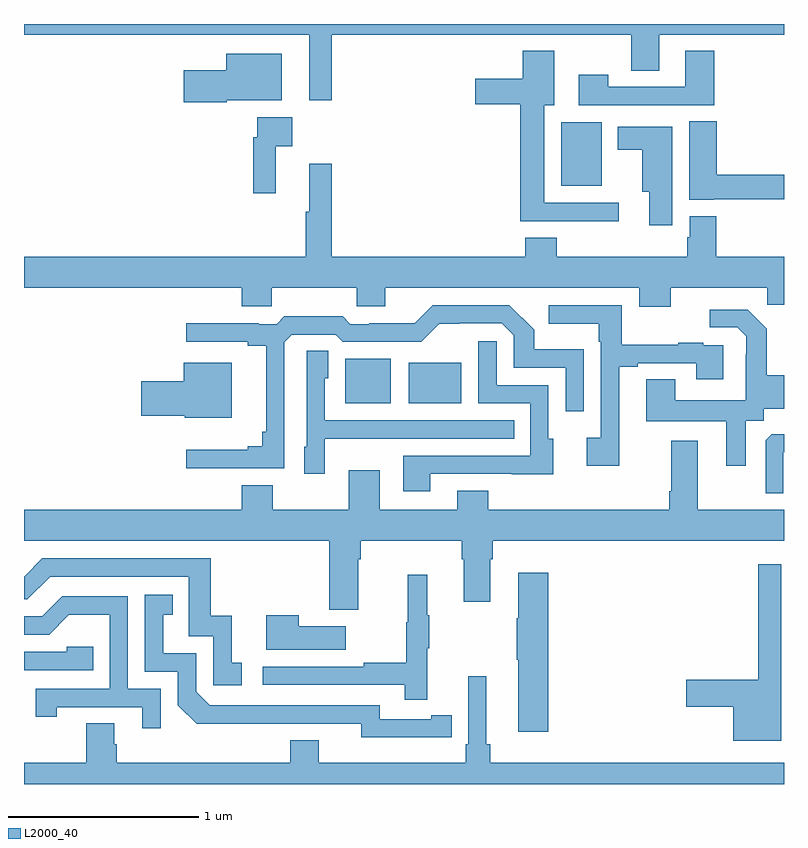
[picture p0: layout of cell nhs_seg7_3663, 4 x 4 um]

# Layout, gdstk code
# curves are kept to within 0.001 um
import gdstk
lib = gdstk.Library(unit=1e-6, precision=1e-09)
def R(c, l, rs):  # rectangles x0, y0, x1, y1
    for r in rs: c.add(gdstk.rectangle(r[:2], r[2:], *l))
def P(c, l, *ps):  # polygons
    for p in ps: c.add(gdstk.Polygon(p, *l))
L2000_40 = (2000, 40)

nhs_seg7_3663 = lib.new_cell('nhs_seg7_3663')
R(nhs_seg7_3663, L2000_40, [(346.691,1004.003,346.93,1004.239), (347.024,1004.003,347.302,1004.218), (347.828,1005.149,348.04,1005.484)])
P(nhs_seg7_3663, L2000_40, [(345,1005.944),(346.502,1005.944),(346.502,1005.6),(346.619,1005.6),(346.619,1005.944),(348.196,1005.944),(348.196,1005.754),(348.343,1005.754),(348.343,1005.944),(349,1005.944),(349,1006),(345,1006)],
  [(348.13,1005.06),(347.737,1005.06),(347.737,1005.572),(347.791,1005.572),(347.791,1005.859),(347.624,1005.859),(347.624,1005.712),(347.376,1005.712),(347.376,1005.578),(347.612,1005.578),(347.612,1004.963),(348.13,1004.963)],
  [(348.632,1005.859),(348.479,1005.859),(348.479,1005.669),(348.075,1005.669),(348.075,1005.733),(347.919,1005.733),(347.919,1005.573),(348.632,1005.573)],
  [(346.068,1005.599),(346.357,1005.599),(346.357,1005.844),(346.064,1005.844),(346.064,1005.757),(345.84,1005.757),(345.84,1005.587),(346.068,1005.587)],
  [(346.325,1005.356),(346.411,1005.356),(346.411,1005.508),(346.227,1005.508),(346.227,1005.404),(346.207,1005.404),(346.207,1005.108),(346.325,1005.108)],
  [(348.63,1005.078),(349,1005.078),(349,1005.206),(348.647,1005.206),(348.647,1005.488),(348.5,1005.488),(348.5,1005.074),(348.63,1005.074)],
  [(348.412,1005.46),(348.125,1005.46),(348.125,1005.338),(348.254,1005.338),(348.254,1005.116),(348.29,1005.116),(348.29,1004.94),(348.412,1004.94)],
  [(348.403,1004.612),(348.913,1004.612),(348.913,1004.522),(349,1004.522),(349,1004.776),(348.644,1004.776),(348.644,1004.989),(348.503,1004.989),(348.503,1004.877),(348.491,1004.877),(348.491,1004.776),(347.804,1004.776),(347.804,1004.875),(347.639,1004.875),(347.639,1004.776),(346.619,1004.776),(346.619,1005.265),(346.502,1005.265),(346.502,1005.012),(346.483,1005.012),(346.483,1004.776),(345,1004.776),(345,1004.612),(346.145,1004.612),(346.145,1004.514),(346.305,1004.514),(346.305,1004.612),(346.75,1004.612),(346.75,1004.514),(346.9,1004.514),(346.9,1004.612),(348.239,1004.612),(348.239,1004.513),(348.403,1004.513)],
  [(348.133,1004.196),(348.229,1004.196),(348.229,1004.214),(348.539,1004.214),(348.539,1004.13),(348.679,1004.13),(348.679,1004.31),(348.575,1004.31),(348.575,1004.323),(348.443,1004.323),(348.443,1004.312),(348.145,1004.312),(348.145,1004.52),(347.763,1004.52),(347.763,1004.423),(348.024,1004.423),(348.024,1004.327),(348.036,1004.327),(348.036,1003.822),(347.961,1003.822),(347.961,1003.674),(348.133,1003.674)],
  [(346.371,1004.325),(346.41,1004.364),(346.641,1004.364),(346.677,1004.328),(347.091,1004.328),(347.186,1004.423),(347.514,1004.424),(347.577,1004.361),(347.577,1004.19),(347.85,1004.19),(347.85,1003.962),(347.946,1003.962),(347.946,1004.287),(347.685,1004.287),(347.685,1004.39),(347.554,1004.52),(347.151,1004.52),(347.057,1004.426),(346.816,1004.426),(346.816,1004.421),(346.716,1004.421),(346.677,1004.461),(346.369,1004.461),(346.329,1004.421),(346.235,1004.421),(346.235,1004.426),(345.855,1004.426),(345.855,1004.328),(346.178,1004.328),(346.178,1004.306),(346.274,1004.306),(346.274,1003.855),(346.255,1003.855),(346.255,1003.778),(346.178,1003.778),(346.178,1003.759),(345.855,1003.759),(345.855,1003.662),(346.371,1003.662)],
  [(348.799,1003.912),(348.894,1003.912),(348.894,1003.976),(349,1003.976),(349,1004.152),(348.909,1004.152),(348.909,1004.397),(348.809,1004.497),(348.609,1004.497),(348.609,1004.403),(348.753,1004.403),(348.8,1004.356),(348.8,1004.261),(348.798,1004.261),(348.798,1004.02),(348.427,1004.02),(348.427,1004.129),(348.275,1004.129),(348.275,1003.91),(348.695,1003.91),(348.695,1003.674),(348.799,1003.674)],
  [(347.137,1003.632),(347.567,1003.632),(347.567,1003.631),(347.785,1003.631),(347.785,1003.818),(347.76,1003.818),(347.76,1004.1),(347.487,1004.1),(347.487,1004.329),(347.391,1004.329),(347.391,1004.004),(347.664,1004.004),(347.664,1003.728),(346.997,1003.728),(346.997,1003.542),(347.137,1003.542)],
  [(346.584,1003.817),(346.901,1003.817),(346.901,1003.818),(347.579,1003.818),(347.579,1003.914),(346.584,1003.914),(346.584,1004.136),(346.6,1004.136),(346.6,1004.279),(346.488,1004.279),(346.488,1003.776),(346.475,1003.776),(346.475,1003.632),(346.584,1003.632)],
  [(346.093,1004.218),(345.842,1004.218),(345.842,1004.12),(345.618,1004.12),(345.618,1003.937),(345.846,1003.937),(345.846,1003.928),(346.093,1003.928)],
  [(348.996,1003.746),(349,1003.746),(349,1003.841),(348.935,1003.841),(348.903,1003.809),(348.903,1003.529),(348.996,1003.529)],
  [(349,1003.444),(348.547,1003.444),(348.547,1003.807),(348.407,1003.807),(348.407,1003.54),(348.395,1003.54),(348.395,1003.444),(347.443,1003.444),(347.443,1003.543),(347.279,1003.543),(347.279,1003.444),(346.873,1003.444),(346.873,1003.651),(346.709,1003.651),(346.709,1003.444),(346.309,1003.444),(346.309,1003.573),(346.145,1003.573),(346.145,1003.444),(345,1003.444),(345,1003.28),(346.607,1003.28),(346.607,1002.918),(346.759,1002.918),(346.759,1003.184),(346.772,1003.184),(346.772,1003.28),(347.303,1003.28),(347.303,1003.184),(347.315,1003.184),(347.315,1002.96),(347.455,1002.96),(347.455,1003.184),(347.468,1003.184),(347.468,1003.28),(349,1003.28)],
  [(346.147,1002.639),(346.094,1002.639),(346.094,1002.886),(345.983,1002.886),(345.983,1003.188),(345.096,1003.188),(345,1003.092),(345,1002.972),(345.018,1002.972),(345.138,1003.092),(345.867,1003.092),(345.867,1002.777),(345.996,1002.777),(345.996,1002.519),(346.147,1002.519)],
  [(348.985,1003.156),(348.864,1003.156),(348.864,1002.548),(348.486,1002.548),(348.486,1002.406),(348.734,1002.406),(348.734,1002.227),(348.985,1002.227)],
  [(347.759,1003.111),(347.6,1003.111),(347.6,1002.872),(347.593,1002.872),(347.593,1002.655),(347.6,1002.655),(347.6,1002.276),(347.759,1002.276)],
  [(347.123,1002.715),(347.134,1002.715),(347.134,1002.889),(347.123,1002.889),(347.123,1003.102),(347.02,1003.102),(347.02,1002.852),(347.013,1002.852),(347.013,1002.638),(346.789,1002.638),(346.789,1002.618),(346.257,1002.618),(346.257,1002.522),(347.005,1002.522),(347.005,1002.444),(347.123,1002.444)],
  [(347.144,1002.246),(347.252,1002.246),(347.252,1002.362),(347.144,1002.362),(347.144,1002.342),(346.872,1002.342),(346.872,1002.414),(345.978,1002.414),(345.906,1002.486),(345.906,1002.687),(345.733,1002.687),(345.733,1002.891),(345.782,1002.891),(345.782,1002.997),(345.636,1002.997),(345.636,1002.591),(345.81,1002.591),(345.81,1002.414),(345.908,1002.317),(346.776,1002.318),(346.776,1002.245)],
  [(345.72,1002.501),(345.546,1002.501),(345.546,1002.987),(345.2,1002.987),(345.095,1002.882),(345,1002.882),(345,1002.786),(345.132,1002.786),(345.236,1002.89),(345.45,1002.89),(345.45,1002.501),(345.061,1002.501),(345.061,1002.354),(345.172,1002.354),(345.172,1002.405),(345.623,1002.405),(345.623,1002.294),(345.72,1002.294)],
  [(346.693,1002.829),(346.445,1002.829),(346.445,1002.889),(346.274,1002.889),(346.274,1002.707),(346.693,1002.707)],
  [(345.365,1002.723),(345.225,1002.723),(345.225,1002.696),(345,1002.696),(345,1002.6),(345.365,1002.6)],
  [(347.453,1002.208),(347.434,1002.208),(347.434,1002.568),(347.337,1002.568),(347.337,1002.208),(347.324,1002.208),(347.324,1002.112),(346.552,1002.112),(346.552,1002.229),(346.4,1002.229),(346.4,1002.112),(345.488,1002.112),(345.488,1002.21),(345.475,1002.21),(345.475,1002.32),(345.328,1002.32),(345.328,1002.112),(345,1002.112),(345,1002),(349,1002),(349,1002.112),(347.453,1002.112)])

lib.write_gds('nhs_seg7_3663.gds')
